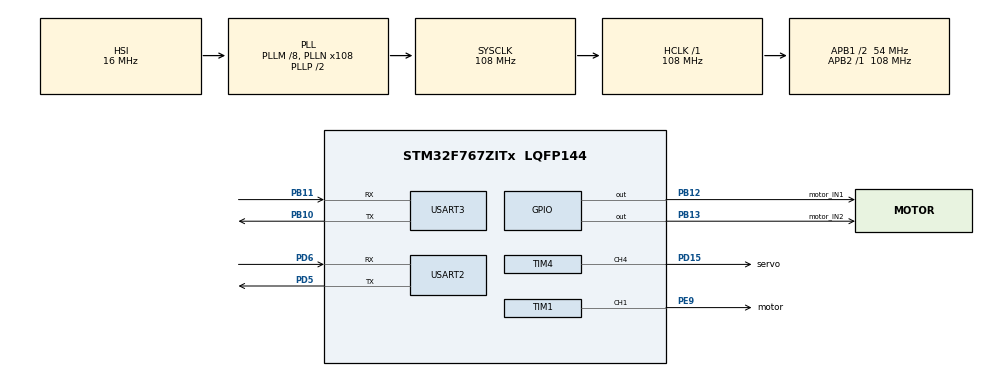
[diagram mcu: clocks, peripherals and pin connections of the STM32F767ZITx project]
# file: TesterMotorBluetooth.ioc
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Mcu.Family=STM32F7
Mcu.Name=STM32F767ZITx
Mcu.Package=LQFP144
NVIC.PriorityGroup=NVIC_PRIORITYGROUP_4
NVIC.USART2_IRQn=true\:0\:0\:false\:false\:true\:true\:true\:true
PB10.Mode=Asynchronous
PB10.Signal=USART3_TX
PB11.Mode=Asynchronous
PB11.Signal=USART3_RX
PB12.GPIO_Label=motor_IN1
PB12.GPIO_Speed=GPIO_SPEED_FREQ_MEDIUM
PB12.Signal=GPIO_Output
PB13.GPIO_Label=motor_IN2
PB13.GPIO_Speed=GPIO_SPEED_FREQ_MEDIUM
PB13.Signal=GPIO_Output
PD15.GPIO_Label=servo
PD15.Signal=S_TIM4_CH4
PD5.Mode=Asynchronous
PD5.Signal=USART2_TX
PD6.Mode=Asynchronous
PD6.Signal=USART2_RX
PE9.GPIO_Label=motor
PE9.Signal=S_TIM1_CH1
PH0/OSC_IN.Mode=HSE-External-Oscillator
PH0/OSC_IN.Signal=RCC_OSC_IN
PH1/OSC_OUT.Mode=HSE-External-Oscillator
PH1/OSC_OUT.Signal=RCC_OSC_OUT
ProjectManager.HeapSize=0x200
ProjectManager.StackSize=0x400
ProjectManager.TargetToolchain=STM32CubeIDE
RCC.48MHZClocksFreq_Value=24000000
RCC.AHBFreq_Value=108000000
RCC.APB1CLKDivider=RCC_HCLK_DIV2
RCC.APB1Freq_Value=54000000
RCC.APB1TimFreq_Value=108000000
RCC.APB2Freq_Value=108000000
RCC.APB2TimFreq_Value=108000000
RCC.CortexFreq_Value=108000000
RCC.HCLKFreq_Value=108000000
RCC.HSE_VALUE=8000000
RCC.HSI_VALUE=16000000
RCC.LSE_VALUE=32768
RCC.PLLM=8
RCC.PLLMUL=RCC_PLL_MUL9
RCC.PLLN=108
RCC.PRESCALERUSB=RCC_USBCLKSOURCE_PLL_DIV1_5
RCC.SYSCLKFreq_VALUE=108000000
RCC.SYSCLKSource=RCC_SYSCLKSOURCE_PLLCLK
RCC.SYSCLKSourceVirtual=RCC_SYSCLKSOURCE_PLLCLK
RCC.USBFreq_Value=108000000
RCC.VCOOutputFreq_Value=216000000
SH.S_TIM1_CH1.0=TIM1_CH1,PWM Generation1 CH1
SH.S_TIM4_CH4.0=TIM4_CH4,PWM Generation4 CH4
TIM1.Channel-PWM\ Generation1\ CH1=TIM_CHANNEL_1
TIM1.Period=999
TIM1.Prescaler=7
TIM4.Channel-PWM\ Generation4\ CH4=TIM_CHANNEL_4
TIM4.Period=10000-1
TIM4.Prescaler=108-1
USART2.VirtualMode-Asynchronous=VM_ASYNC
USART3.VirtualMode-Asynchronous=VM_ASYNC
VP_TIM4_VS_ClockSourceINT.Mode=Internal
board=NUCLEO-F767ZI

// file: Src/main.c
/* USER CODE BEGIN Header */
/**
  ******************************************************************************
  * @file           : main.c
  * @brief          : Application entry point
  ******************************************************************************

  */
/* USER CODE END Header */
#include "main.h"
#include <stdio.h>

/* USER CODE BEGIN PD */

#define BT_UART                 USART2
#define MON_UART  USART3
#define BT_BAUD                 9600
#define MON_BAUD  115200

#define MOTOR_TIM_CH            TIM_CHANNEL_1   // PE9 -> TIM1_CH1
#define SERVO_TIM_CH            TIM_CHANNEL_4   // PD15 -> TIM4_CH4
/* USER CODE END PD */

/* USER CODE BEGIN PM */
#define CLAMP(x,lo,hi)  ((x)<(lo)?(lo):((x)>(hi)?(hi):(x)))
/* USER CODE END PM */

TIM_HandleTypeDef htim1;
TIM_HandleTypeDef htim4;

UART_HandleTypeDef huart2;
UART_HandleTypeDef huart3;

/* USER CODE BEGIN PV */
// UART RX line buffer
static uint8_t  rx_ch;
static char     linebuf[64];
static int      linepos = 0;
/* USER CODE END PV */

void SystemClock_Config(void);
static void MX_GPIO_Init(void);
static void MX_TIM1_Init(void);
static void MX_USART2_UART_Init(void);
static void MX_TIM4_Init(void);
static void MX_USART3_UART_Init(void);
/* USER CODE BEGIN PFP */
static void start_io(void);
static inline uint32_t tim_arr(const TIM_HandleTypeDef* h);
static void pwm_set(TIM_HandleTypeDef* htim, uint32_t ch, uint32_t duty);
static void motor_drive(int spd_percent);   // -100..100
static void servo_write_deg(int deg);       // about -60..60
/* USER CODE END PFP */

/* USER CODE BEGIN 0 */

static inline uint32_t tim_arr(const TIM_HandleTypeDef* h){
  return __HAL_TIM_GET_AUTORELOAD((TIM_HandleTypeDef*)h);
}

static void pwm_set(TIM_HandleTypeDef* htim, uint32_t ch, uint32_t duty ){
  if(duty > tim_arr(htim)) duty = tim_arr(htim);
  __HAL_TIM_SET_COMPARE(htim, ch, duty);
}

static void motor_drive(int spd_percent) {
  spd_percent = CLAMP(spd_percent, -100, 100);

  if (spd_percent >= 0) {
    HAL_GPIO_WritePin(motor_IN1_GPIO_Port, motor_IN1_Pin, GPIO_PIN_SET);
    HAL_GPIO_WritePin(motor_IN2_GPIO_Port, motor_IN2_Pin, GPIO_PIN_RESET);
    uint32_t arr = tim_arr(&htim1);
    pwm_set(&htim1, MOTOR_TIM_CH, (arr+1) * spd_percent / 100);
  } else {
    HAL_GPIO_WritePin(motor_IN1_GPIO_Port, motor_IN1_Pin, GPIO_PIN_RESET);
    HAL_GPIO_WritePin(motor_IN2_GPIO_Port, motor_IN2_Pin, GPIO_PIN_SET);
    uint32_t arr = tim_arr(&htim1);
    pwm_set(&htim1, MOTOR_TIM_CH, (arr+1) * (-spd_percent) / 100);
  }
}

static void servo_write_deg(int deg) {
  deg = CLAMP(deg, -60, 60);
  int us = 1500 + (deg * 500) / 60;
  int ccr = us; //
  pwm_set(&htim4, SERVO_TIM_CH, (uint32_t)ccr);
}

static void start_io(void){
  // Start PWMs
  HAL_TIM_PWM_Start(&htim1, MOTOR_TIM_CH);
  HAL_TIM_PWM_Start(&htim4, SERVO_TIM_CH);

  // Prime UART RX IT
  HAL_UART_Receive_IT(&huart2, &rx_ch, 1);
}

void HAL_UART_RxCpltCallback(UART_HandleTypeDef *huart){
  if (huart->Instance == BT_UART) {
    if (rx_ch == '\n' || rx_ch == '\r') {
      linebuf[linepos] = 0;
      int vl=40, vr=40, a=40;
      if (sscanf(linebuf, "M %d %d S %d", &vl, &vr, &a) == 3) {
        (void)vr;
        motor_drive(vl);
        servo_write_deg(a);
      }
      linepos = 0;
    } else {
      if (linepos < (int)sizeof(linebuf) - 1) {
        linebuf[linepos++] = (char)rx_ch;
      } else {
        linepos = 0;
      }
    }
    HAL_UART_Receive_IT(&huart2, &rx_ch, 1);
  }
}

/* USER CODE END 0 */

int main(void)
{

  /* MCU Configuration--------------------------------------------------------*/

  /* Reset of all peripherals, Initializes the Flash interface and the Systick. */
  HAL_Init();

  /* Configure the system clock */
  SystemClock_Config();

  /* Initialize all configured peripherals */
  MX_GPIO_Init();
  MX_TIM1_Init();
  MX_USART2_UART_Init();
  MX_TIM4_Init();
  MX_USART3_UART_Init();
  /* USER CODE BEGIN 2 */
  start_io();

  /* USER CODE END 2 */

  /* Infinite loop */
  while (1)
  {

  }
}

void SystemClock_Config(void)
{
  RCC_OscInitTypeDef RCC_OscInitStruct = {0};
  RCC_ClkInitTypeDef RCC_ClkInitStruct = {0};

  /** Configure the main internal regulator output voltage
  */
  __HAL_RCC_PWR_CLK_ENABLE();
  __HAL_PWR_VOLTAGESCALING_CONFIG(PWR_REGULATOR_VOLTAGE_SCALE3);

  /** Initializes the RCC Oscillators according to the specified parameters
  * in the RCC_OscInitTypeDef structure.
  */
  RCC_OscInitStruct.OscillatorType = RCC_OSCILLATORTYPE_HSI;
  RCC_OscInitStruct.HSIState = RCC_HSI_ON;
  RCC_OscInitStruct.HSICalibrationValue = RCC_HSICALIBRATION_DEFAULT;
  RCC_OscInitStruct.PLL.PLLState = RCC_PLL_ON;
  RCC_OscInitStruct.PLL.PLLSource = RCC_PLLSOURCE_HSI;
  RCC_OscInitStruct.PLL.PLLM = 8;
  RCC_OscInitStruct.PLL.PLLN = 108;
  RCC_OscInitStruct.PLL.PLLP = RCC_PLLP_DIV2;
  RCC_OscInitStruct.PLL.PLLQ = 2;
  RCC_OscInitStruct.PLL.PLLR = 2;
  if (HAL_RCC_OscConfig(&RCC_OscInitStruct) != HAL_OK)
  {
    Error_Handler();
  }

  /** Activate the Over-Drive mode
  */
  if (HAL_PWREx_EnableOverDrive() != HAL_OK)
  {
    Error_Handler();
  }

  /** Initializes the CPU, AHB and APB buses clocks
  */
  RCC_ClkInitStruct.ClockType = RCC_CLOCKTYPE_HCLK|RCC_CLOCKTYPE_SYSCLK
                              |RCC_CLOCKTYPE_PCLK1|RCC_CLOCKTYPE_PCLK2;
  RCC_ClkInitStruct.SYSCLKSource = RCC_SYSCLKSOURCE_PLLCLK;
  RCC_ClkInitStruct.AHBCLKDivider = RCC_SYSCLK_DIV1;
  RCC_ClkInitStruct.APB1CLKDivider = RCC_HCLK_DIV2;
  RCC_ClkInitStruct.APB2CLKDivider = RCC_HCLK_DIV1;

  if (HAL_RCC_ClockConfig(&RCC_ClkInitStruct, FLASH_LATENCY_3) != HAL_OK)
  {
    Error_Handler();
  }
}

static void MX_TIM1_Init(void)
{

  TIM_MasterConfigTypeDef sMasterConfig = {0};
  TIM_OC_InitTypeDef sConfigOC = {0};
  TIM_BreakDeadTimeConfigTypeDef sBreakDeadTimeConfig = {0};

  htim1.Instance = TIM1;
  htim1.Init.Prescaler = 7;
  htim1.Init.CounterMode = TIM_COUNTERMODE_UP;
  htim1.Init.Period = 999;
  htim1.Init.ClockDivision = TIM_CLOCKDIVISION_DIV1;
  htim1.Init.RepetitionCounter = 0;
  htim1.Init.AutoReloadPreload = TIM_AUTORELOAD_PRELOAD_DISABLE;
  if (HAL_TIM_PWM_Init(&htim1) != HAL_OK)
  {
    Error_Handler();
  }
  sMasterConfig.MasterOutputTrigger = TIM_TRGO_RESET;
  sMasterConfig.MasterOutputTrigger2 = TIM_TRGO2_RESET;
  sMasterConfig.MasterSlaveMode = TIM_MASTERSLAVEMODE_DISABLE;
  if (HAL_TIMEx_MasterConfigSynchronization(&htim1, &sMasterConfig) != HAL_OK)
  {
    Error_Handler();
  }
  sConfigOC.OCMode = TIM_OCMODE_PWM1;
  sConfigOC.Pulse = 0;
  sConfigOC.OCPolarity = TIM_OCPOLARITY_HIGH;
  sConfigOC.OCNPolarity = TIM_OCNPOLARITY_HIGH;
  sConfigOC.OCFastMode = TIM_OCFAST_DISABLE;
  sConfigOC.OCIdleState = TIM_OCIDLESTATE_RESET;
  sConfigOC.OCNIdleState = TIM_OCNIDLESTATE_RESET;
  if (HAL_TIM_PWM_ConfigChannel(&htim1, &sConfigOC, TIM_CHANNEL_1) != HAL_OK)
  {
    Error_Handler();
  }
  sBreakDeadTimeConfig.OffStateRunMode = TIM_OSSR_DISABLE;
  sBreakDeadTimeConfig.OffStateIDLEMode = TIM_OSSI_DISABLE;
  sBreakDeadTimeConfig.LockLevel = TIM_LOCKLEVEL_OFF;
  sBreakDeadTimeConfig.DeadTime = 0;
  sBreakDeadTimeConfig.BreakState = TIM_BREAK_DISABLE;
  sBreakDeadTimeConfig.BreakPolarity = TIM_BREAKPOLARITY_HIGH;
  sBreakDeadTimeConfig.BreakFilter = 0;
  sBreakDeadTimeConfig.Break2State = TIM_BREAK2_DISABLE;
  sBreakDeadTimeConfig.Break2Polarity = TIM_BREAK2POLARITY_HIGH;
  sBreakDeadTimeConfig.Break2Filter = 0;
  sBreakDeadTimeConfig.AutomaticOutput = TIM_AUTOMATICOUTPUT_DISABLE;
  if (HAL_TIMEx_ConfigBreakDeadTime(&htim1, &sBreakDeadTimeConfig) != HAL_OK)
  {
    Error_Handler();
  }
  HAL_TIM_MspPostInit(&htim1);

}

static void MX_TIM4_Init(void)
{

  TIM_ClockConfigTypeDef sClockSourceConfig = {0};
  TIM_MasterConfigTypeDef sMasterConfig = {0};
  TIM_OC_InitTypeDef sConfigOC = {0};

  htim4.Instance = TIM4;
  htim4.Init.Prescaler = 108-1;
  htim4.Init.CounterMode = TIM_COUNTERMODE_UP;
  htim4.Init.Period = 20000-1;
  htim4.Init.ClockDivision = TIM_CLOCKDIVISION_DIV1;
  htim4.Init.AutoReloadPreload = TIM_AUTORELOAD_PRELOAD_DISABLE;
  if (HAL_TIM_Base_Init(&htim4) != HAL_OK)
  {
    Error_Handler();
  }
  sClockSourceConfig.ClockSource = TIM_CLOCKSOURCE_INTERNAL;
  if (HAL_TIM_ConfigClockSource(&htim4, &sClockSourceConfig) != HAL_OK)
  {
    Error_Handler();
  }
  if (HAL_TIM_PWM_Init(&htim4) != HAL_OK)
  {
    Error_Handler();
  }
  sMasterConfig.MasterOutputTrigger = TIM_TRGO_RESET;
  sMasterConfig.MasterSlaveMode = TIM_MASTERSLAVEMODE_DISABLE;
  if (HAL_TIMEx_MasterConfigSynchronization(&htim4, &sMasterConfig) != HAL_OK)
  {
    Error_Handler();
  }
  sConfigOC.OCMode = TIM_OCMODE_PWM1;
  sConfigOC.Pulse = 0;
  sConfigOC.OCPolarity = TIM_OCPOLARITY_HIGH;
  sConfigOC.OCFastMode = TIM_OCFAST_DISABLE;
  if (HAL_TIM_PWM_ConfigChannel(&htim4, &sConfigOC, TIM_CHANNEL_4) != HAL_OK)
  {
    Error_Handler();
  }
  HAL_TIM_MspPostInit(&htim4);

}

static void MX_USART2_UART_Init(void)
{

  huart2.Instance = USART2;
  huart2.Init.BaudRate = 9600;
  huart2.Init.WordLength = UART_WORDLENGTH_8B;
  huart2.Init.StopBits = UART_STOPBITS_1;
  huart2.Init.Parity = UART_PARITY_NONE;
  huart2.Init.Mode = UART_MODE_TX_RX;
  huart2.Init.HwFlowCtl = UART_HWCONTROL_NONE;
  huart2.Init.OverSampling = UART_OVERSAMPLING_16;
  huart2.Init.OneBitSampling = UART_ONE_BIT_SAMPLE_DISABLE;
  huart2.AdvancedInit.AdvFeatureInit = UART_ADVFEATURE_NO_INIT;
  if (HAL_UART_Init(&huart2) != HAL_OK)
  {
    Error_Handler();
  }

}

static void MX_USART3_UART_Init(void)
{

  huart3.Instance = USART3;
  huart3.Init.BaudRate = 115200;
  huart3.Init.WordLength = UART_WORDLENGTH_8B;
  huart3.Init.StopBits = UART_STOPBITS_1;
  huart3.Init.Parity = UART_PARITY_NONE;
  huart3.Init.Mode = UART_MODE_TX_RX;
  huart3.Init.HwFlowCtl = UART_HWCONTROL_NONE;
  huart3.Init.OverSampling = UART_OVERSAMPLING_16;
  huart3.Init.OneBitSampling = UART_ONE_BIT_SAMPLE_DISABLE;
  huart3.AdvancedInit.AdvFeatureInit = UART_ADVFEATURE_NO_INIT;
  if (HAL_UART_Init(&huart3) != HAL_OK)
  {
    Error_Handler();
  }

}

static void MX_GPIO_Init(void)
{
  GPIO_InitTypeDef GPIO_InitStruct = {0};

  /* GPIO Ports Clock Enable */
  __HAL_RCC_GPIOH_CLK_ENABLE();
  __HAL_RCC_GPIOE_CLK_ENABLE();
  __HAL_RCC_GPIOB_CLK_ENABLE();
  __HAL_RCC_GPIOD_CLK_ENABLE();

  /*Configure GPIO pin Output Level */
  HAL_GPIO_WritePin(GPIOB, motor_IN1_Pin|motor_IN2_Pin, GPIO_PIN_RESET);

  /*Configure GPIO pins : motor_IN1_Pin motor_IN2_Pin */
  GPIO_InitStruct.Pin = motor_IN1_Pin|motor_IN2_Pin;
  GPIO_InitStruct.Mode = GPIO_MODE_OUTPUT_PP;
  GPIO_InitStruct.Pull = GPIO_NOPULL;
  GPIO_InitStruct.Speed = GPIO_SPEED_FREQ_MEDIUM;
  HAL_GPIO_Init(GPIOB, &GPIO_InitStruct);

}

void Error_Handler(void)
{
  __disable_irq();
  while (1)
  {
  }
}
